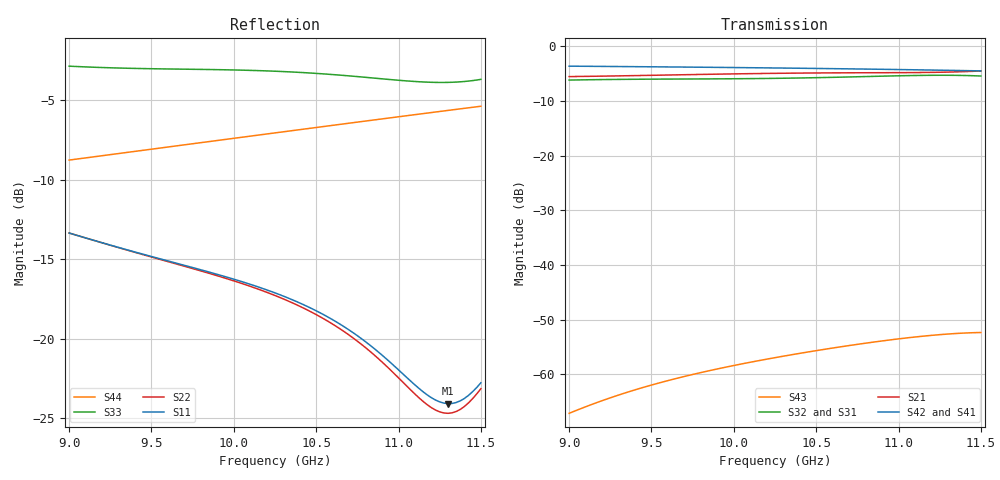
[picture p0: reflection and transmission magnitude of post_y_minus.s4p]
! Generated from PyAEDT SolutionData; AEDT ExportNetworkData workaround
# GHz S MA R 50
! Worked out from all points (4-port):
!   101 points, 9 GHz to 11.5 GHz, reference 50 ohm
!   strongest paths, dB at 9 GHz, 9.625 GHz, 10.25 GHz, 10.88 GHz, 11.5 GHz:
!     S42: -3.6, -3.8, -4.0, -4.2, -4.5
!     S41: -3.6, -3.8, -4.0, -4.2, -4.5
!     S21: -5.5, -5.2, -4.9, -4.8, -4.5
!     S32: -6.2, -6.0, -5.9, -5.5, -5.4
!     S31: -6.2, -6.0, -5.9, -5.5, -5.4
!     S43: -67.1, -60.9, -56.9, -54.0, -52.3
!   lowest |S11| = -24.1 dB at 11.3 GHz (marker M1), VSWR 1.13, Z = 55.2 - j3.99 ohm
!   |S11| at or under -10 dB: start of sweep to end of sweep
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9  0.2151 156.5  0.5285 -171.2  0.4905 -74.7  0.6586 45.7
   0.5285 -171.2  0.2151 156.9  0.4912 -74.6  0.6581 -134.2
   0.4905 -74.7  0.4912 -74.6  0.7198 -149.0  0.0004405 15.8
   0.6586 45.7  0.6581 -134.2  0.0004405 15.8  0.3647 -115.6
9.55  0.1786 99.6  0.5446 128.7  0.5004 -166.8  0.6489 -16.7
      0.5446 128.7  0.1778 100.2  0.5011 -166.7  0.6486 163.5
      0.5004 -166.8  0.5011 -166.7  0.706 84.8  0.0008377 -80.4
      0.6489 -16.7  0.6486 163.5  0.0008377 -80.4  0.3978 -174.3
9.875  0.1608 67.2  0.5555 94.2  0.5031 140.3  0.6422 -52.2
       0.5555 94.2  0.1592 67.9  0.5037 140.4  0.6421 128.0
       0.5031 140.3  0.5037 140.4  0.7023 12.4  0.001101 -140.8
       0.6422 -52.2  0.6421 128.0  0.001101 -140.8  0.4187 151.8
10.2  0.1425 35.1  0.5648 60.2  0.5078 88.2  0.6347 -87.0
      0.5648 60.2  0.14 35.7  0.5082 88.3  0.6349 93.3
      0.5078 88.2  0.5082 88.3  0.6956 -58.8  0.001378 158.4
      0.6347 -87.0  0.6349 93.3  0.001378 158.4  0.4406 118.4
10.75  0.1023 -16.2  0.5727 4.6  0.5264 -0.3  0.6201 -144.5
       0.5727 4.6  0.09831 -15.8  0.5266 -0.2  0.6205 35.7
       0.5264 -0.3  0.5266 -0.2  0.6675 177.9  0.001882 54.8
       0.6201 -144.5  0.6205 35.7  0.001882 54.8  0.4801 62.4
11.3  0.06255 -35.1  0.5811 -47.1  0.5432 -94.0  0.6027 159.0
      0.5811 -47.1  0.05831 -32.5  0.5433 -93.9  0.603 -20.8
      0.5432 -94.0  0.5433 -93.9  0.6401 37.9  0.002339 -51.7
      0.6027 159.0  0.603 -20.8  0.002339 -51.7  0.5225 6.8
11.5  0.07273 -31.0  0.595 -64.8  0.5347 -130.4  0.5957 138.6
      0.595 -64.8  0.0697 -27.6  0.5349 -130.2  0.5959 -41.2
      0.5347 -130.4  0.5349 -130.2  0.6543 -19.5  0.002415 -91.3
      0.5957 138.6  0.5959 -41.2  0.002415 -91.3  0.5385 -13.4
